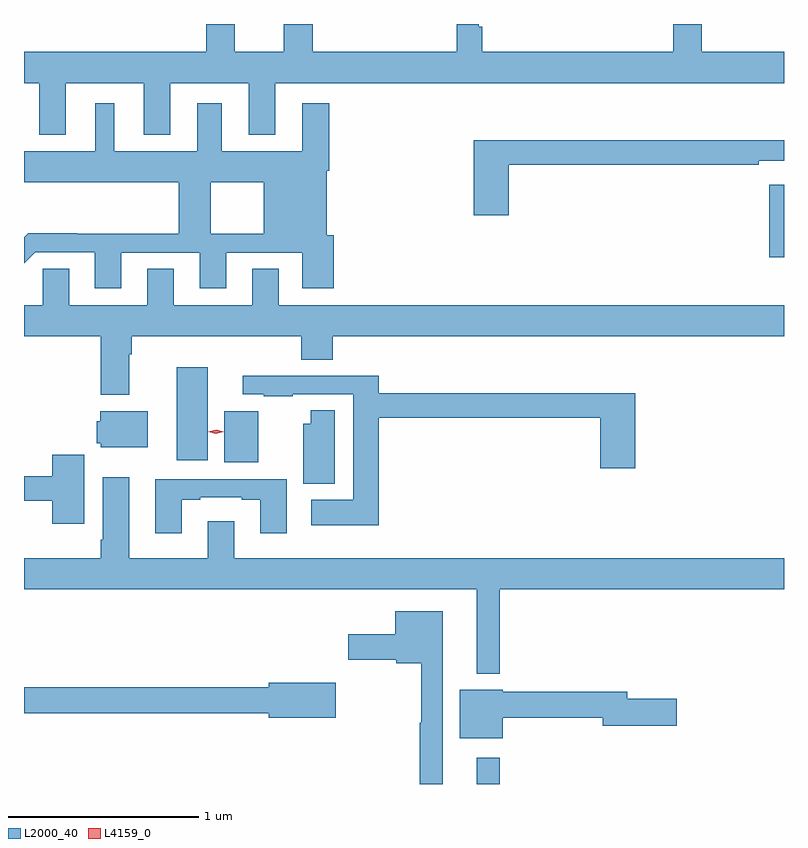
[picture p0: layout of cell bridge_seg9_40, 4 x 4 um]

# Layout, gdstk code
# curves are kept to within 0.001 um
import gdstk
lib = gdstk.Library(unit=1e-6, precision=1e-09)
def R(c, l, rs):  # rectangles x0, y0, x1, y1
    for r in rs: c.add(gdstk.rectangle(r[:2], r[2:], *l))
def P(c, l, *ps):  # polygons
    for p in ps: c.add(gdstk.Polygon(p, *l))
L2000_40 = (2000, 40)
L4159_0 = (4159, 0)

bridge_seg9_40 = lib.new_cell('bridge_seg9_40')
R(bridge_seg9_40, L2000_40, [(926.585,1179.411,926.707,1179.55), (925.256,1181.105,925.435,1181.374), (925.007,1181.115,925.168,1181.605), (928.124,1182.183,928.202,1182.564)])
P(bridge_seg9_40, L2000_40, [(928.202,1183.264),(927.77,1183.264),(927.77,1183.411),(927.619,1183.411),(927.619,1183.264),(926.615,1183.264),(926.615,1183.397),(926.596,1183.397),(926.596,1183.411),(926.479,1183.411),(926.479,1183.264),(925.721,1183.264),(925.721,1183.411),(925.568,1183.411),(925.568,1183.264),(925.312,1183.264),(925.312,1183.411),(925.16,1183.411),(925.16,1183.264),(924.202,1183.264),(924.202,1183.1),(924.281,1183.1),(924.281,1182.827),(924.421,1182.827),(924.421,1183.1),(924.833,1183.1),(924.833,1182.827),(924.973,1182.827),(924.973,1183.1),(925.385,1183.1),(925.385,1182.827),(925.525,1182.827),(925.525,1183.1),(928.202,1183.1)],
  [(924.479,1182.311),(924.224,1182.311),(924.202,1182.289),(924.202,1182.151),(924.261,1182.21),(924.575,1182.21),(924.575,1182.021),(924.715,1182.021),(924.715,1182.207),(925.127,1182.207),(925.127,1182.021),(925.267,1182.021),(925.267,1182.207),(925.667,1182.207),(925.667,1182.021),(925.832,1182.021),(925.832,1182.3),(925.795,1182.3),(925.795,1182.638),(925.808,1182.638),(925.808,1182.994),(925.667,1182.994),(925.667,1182.742),(925.243,1182.742),(925.243,1182.994),(925.115,1182.994),(925.115,1182.742),(924.676,1182.742),(924.676,1182.994),(924.578,1182.994),(924.578,1182.742),(924.202,1182.742),(924.202,1182.578),(925.016,1182.578),(925.016,1182.308),(925.186,1182.308),(925.186,1182.578),(925.463,1182.578),(925.463,1182.308),(924.479,1182.308)],
  [(926.753,1182.67),(928.07,1182.67),(928.07,1182.69),(928.202,1182.69),(928.202,1182.799),(926.57,1182.799),(926.57,1182.405),(926.753,1182.405)],
  [(924.757,1181.672),(924.77,1181.672),(924.77,1181.768),(925.661,1181.768),(925.661,1181.644),(925.826,1181.644),(925.826,1181.768),(928.202,1181.768),(928.202,1181.932),(925.543,1181.932),(925.543,1182.122),(925.403,1182.122),(925.403,1181.932),(924.991,1181.932),(924.991,1182.122),(924.851,1182.122),(924.851,1181.932),(924.439,1181.932),(924.439,1182.122),(924.3,1182.122),(924.3,1181.932),(924.202,1181.932),(924.202,1181.768),(924.605,1181.768),(924.605,1181.459),(924.757,1181.459)],
  [(926.069,1181.338),(927.236,1181.338),(927.236,1181.073),(927.419,1181.073),(927.419,1181.467),(926.069,1181.467),(926.069,1181.559),(925.577,1181.559),(925.577,1181.561),(925.353,1181.561),(925.353,1181.463),(925.465,1181.463),(925.465,1181.451),(925.616,1181.451),(925.616,1181.463),(925.934,1181.463),(925.934,1180.906),(925.713,1180.906),(925.713,1180.772),(926.069,1180.772)],
  [(925.837,1181.378),(925.712,1181.378),(925.712,1181.308),(925.673,1181.308),(925.673,1180.991),(925.837,1180.991)],
  [(924.853,1181.374),(924.602,1181.374),(924.602,1181.319),(924.584,1181.319),(924.584,1181.205),(924.606,1181.205),(924.606,1181.183),(924.853,1181.183)],
  [(924.52,1181.143),(924.35,1181.143),(924.35,1181.03),(924.202,1181.03),(924.202,1180.902),(924.35,1180.902),(924.35,1180.782),(924.52,1180.782)],
  [(926.707,1180.436),(928.202,1180.436),(928.202,1180.6),(925.309,1180.6),(925.309,1180.795),(925.169,1180.795),(925.169,1180.6),(924.757,1180.6),(924.757,1181.026),(924.617,1181.026),(924.617,1180.696),(924.605,1180.696),(924.605,1180.6),(924.202,1180.6),(924.202,1180.436),(926.585,1180.436),(926.585,1179.992),(926.707,1179.992)],
  [(925.033,1180.908),(925.129,1180.908),(925.129,1180.92),(925.349,1180.92),(925.349,1180.908),(925.445,1180.908),(925.445,1180.731),(925.585,1180.731),(925.585,1181.016),(924.893,1181.016),(924.893,1180.731),(925.033,1180.731)],
  [(926.407,1180.321),(926.156,1180.321),(926.156,1180.198),(925.908,1180.198),(925.908,1180.064),(926.16,1180.064),(926.16,1180.046),(926.293,1180.046),(926.293,1179.734),(926.286,1179.734),(926.286,1179.411),(926.407,1179.411)],
  [(925.843,1179.944),(925.49,1179.944),(925.49,1179.92),(924.202,1179.92),(924.202,1179.784),(925.49,1179.784),(925.49,1179.761),(925.843,1179.761)],
  [(926.722,1179.76),(927.248,1179.76),(927.248,1179.718),(927.637,1179.718),(927.637,1179.86),(927.376,1179.86),(927.376,1179.896),(926.722,1179.896),(926.722,1179.907),(926.495,1179.907),(926.495,1179.653),(926.722,1179.653)])
P(bridge_seg9_40, L4159_0, [(925.212,1181.255),(925.172,1181.265),(925.172,1181.265),(925.172,1181.265),(925.213,1181.275),(925.253,1181.264),(925.253,1181.264),(925.253,1181.264)])

lib.write_gds('bridge_seg9_40.gds')
